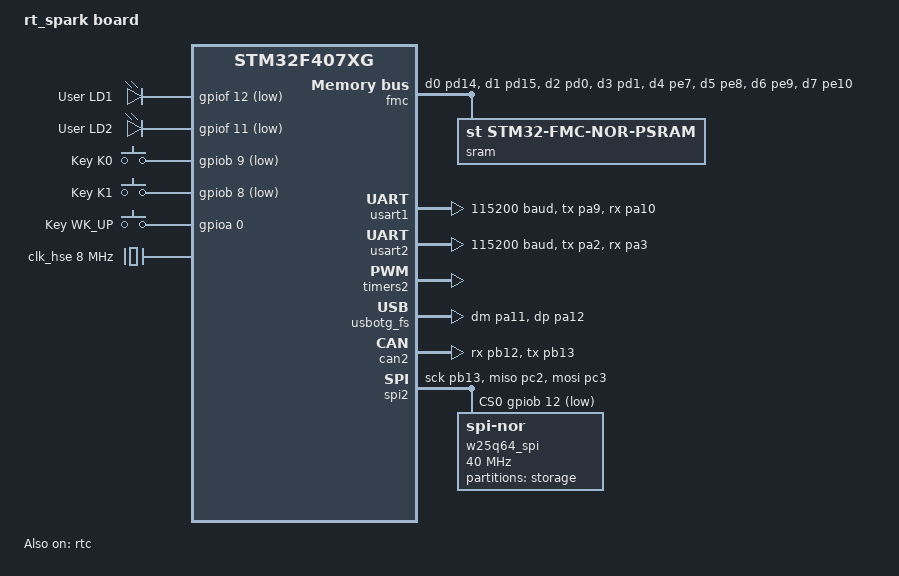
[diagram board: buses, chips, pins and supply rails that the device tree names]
/*
 * Copyright (c) 2020 Intel Corporation
 *
 * SPDX-License-Identifier: Apache-2.0
 */

/dts-v1/;
#include <st/f4/stm32f407Xg.dtsi>
#include <st/f4/stm32f407z(e-g)tx-pinctrl.dtsi>
#include <zephyr/dt-bindings/memory-controller/stm32-fmc-nor-psram.h>
#include <zephyr/dt-bindings/mipi_dbi/mipi_dbi.h>
#include <zephyr/dt-bindings/input/input-event-codes.h>

/ {
	model = "rt_spark board";
	compatible = "ruiside,rt-spark";

	soc {
		fmc: memory-controller@a0000000 {
			compatible = "st,stm32-fmc";
			reg = <0xa0000000 0x400>;
			clocks = <&rcc STM32_CLOCK(AHB3, 0U)>;
			// status = "disabled";

			// sdram: sdram {
				//     compatible = "st,stm32-fmc-sdram";
				//     #address-cells = <1>;
				//     #size-cells = <0>;
				//     status = "disabled";
			// };
			pinctrl-0 = <&fsmc_d0_pd14 &fsmc_d1_pd15 &fsmc_d2_pd0 &fsmc_d3_pd1 &fsmc_d4_pe7 &fsmc_d5_pe8
			&fsmc_d6_pe9 &fsmc_d7_pe10 &fsmc_a18_pd13
			&fsmc_noe_pd4 &fsmc_nwe_pd5 &fsmc_ne3_pg10>;
			pinctrl-names = "default";
			status = "okay";
			sram {
				compatible = "st,stm32-fmc-nor-psram";

				#address-cells = <1>;
				#size-cells = <0>;
				status = "okay";
				bank@0 {
					reg = <0x0>;
					st,control = <STM32_FMC_DATA_ADDRESS_MUX_DISABLE
					STM32_FMC_MEMORY_TYPE_SRAM
					STM32_FMC_NORSRAM_MEM_BUS_WIDTH_8
					STM32_FMC_BURST_ACCESS_MODE_DISABLE
					STM32_FMC_WAIT_SIGNAL_POLARITY_LOW
					STM32_FMC_WAIT_TIMING_BEFORE_WS
					STM32_FMC_WRITE_OPERATION_ENABLE
					STM32_FMC_WAIT_SIGNAL_DISABLE
					STM32_FMC_EXTENDED_MODE_DISABLE
					STM32_FMC_ASYNCHRONOUS_WAIT_DISABLE
					STM32_FMC_WRITE_BURST_DISABLE
					STM32_FMC_CONTINUOUS_CLOCK_SYNC_ONLY
					STM32_FMC_WRITE_FIFO_DISABLE
					STM32_FMC_PAGE_SIZE_NONE>;
					st,timing = <1 1 32 0 2 2 STM32_FMC_ACCESS_MODE_A>;
					status = "okay";
					fmc-mipi-dbi {
						compatible = "st,stm32-fmc-mipi-dbi";
						reset-gpios = <&gpiod 3 GPIO_ACTIVE_LOW>;
						power-gpios = <&gpiof 9 GPIO_ACTIVE_HIGH>;
						register-select-pin = <18>;
						#address-cells = <1>;
						#size-cells = <0>;
						status = "okay";
						st7789v: lcd-panel@0 {
							status = "okay";
							compatible = "sitronix,st7789v";
							reg = <0>;
							mipi-mode = "MIPI_DBI_MODE_8080_BUS_8_BIT";
							/* A write cycle should be 68ns */
							mipi-max-frequency = <14705882>;
							width = <240>;
							height = <240>;
							x-offset = <0>;
							y-offset = <0>;
							vcom = <0x1F>;
							gctrl = <0x35>;
							vdvs = <0x20>;
							mdac = <0x00>;
							gamma = <0x01>;
							colmod = <0x05>;
							lcm = <0x2c>;
							porch-param = [ 0c 0c 00 33 33  ];
							cmd2en-param = [ 5a 69 02 00  ];
							pwctrl1-param = [ a4 a1  ];
							pvgam-param = [ D0 08 11 08 0C 15 39 33 50 36 13 14 29 2D  ];
							nvgam-param = [ D0 08 10 08 06 06 39 44 51 0B 16 14 2F 31  ];
							ram-param = [ 00 F0  ];
							rgb-param = [ 40 02 14  ];
						};
					};
				};
			};
		};
	};
	chosen {
		zephyr,console = &usart1;
		zephyr,shell-uart = &usart1;
		zephyr,sram = &sram0;
		zephyr,flash = &flash0;
		zephyr,ccm = &ccm0;
		zephyr,display = &st7789v;
		// zephyr,canbus = &can2;
	};

	leds {
		compatible = "gpio-leds";

		red_led: led_1 {
			gpios = <&gpiof 12 GPIO_ACTIVE_LOW>;
			label = "User LD1";
		};

		blue_led: led_2 {
			gpios = <&gpiof 11 GPIO_ACTIVE_LOW>;
			label = "User LD2";
		};
	};

	gpio_keys {
		compatible = "gpio-keys";

		user_button_0: K0 {
			label = "Key K0";
			gpios = <&gpiob 9 GPIO_ACTIVE_LOW>;
			zephyr,code = <INPUT_KEY_0>;
		};

		user_button_1: K1 {
			label = "Key K1";
			gpios = <&gpiob 8 GPIO_ACTIVE_LOW>;
			zephyr,code = <INPUT_KEY_1>;
		};

		user_button_UP: K_UP {
			label = "Key WK_UP";
			gpios = <&gpioa 0 GPIO_ACTIVE_HIGH>;
			zephyr,code = <INPUT_KEY_UP>;
		};
	};

	aliases {
		led0 = &red_led;
		led1 = &blue_led;
		sw0 = &user_button_UP;
	};
};

&clk_lsi {
	status = "okay";
};

&clk_hse {
	clock-frequency = <DT_FREQ_M(8)>;
	status = "okay";
};

&pll {
	div-m = <8>;
	mul-n = <336>;
	div-p = <2>;
	div-q = <7>;
	clocks = <&clk_hse>;
	status = "okay";
};

&rcc {
	clocks = <&pll>;
	clock-frequency = <DT_FREQ_M(168)>;
	ahb-prescaler = <1>;
	apb1-prescaler = <4>;
	apb2-prescaler = <2>;
};


&usart1 {
	pinctrl-0 = <&usart1_tx_pa9 &usart1_rx_pa10>;
	pinctrl-names = "default";
	current-speed = <115200>;
	status = "okay";
};

&usart2 {
	pinctrl-0 = <&usart2_tx_pa2 &usart2_rx_pa3>;
	pinctrl-names = "default";
	current-speed = <115200>;
	status = "okay";
};

&timers2 {
	status = "okay";

	pwm2: pwm {
		status = "okay";
		pinctrl-0 = <&tim2_ch1_pa0>;
		pinctrl-names = "default";
	};
};

&rtc {
	clocks = <&rcc STM32_CLOCK_BUS_APB1 0x10000000>,
	         <&rcc STM32_SRC_LSI RTC_SEL(2)>;
	status = "okay";
};

zephyr_udc0: &usbotg_fs {
	pinctrl-0 = <&usb_otg_fs_dm_pa11 &usb_otg_fs_dp_pa12>;
	pinctrl-names = "default";
	status = "okay";
};

&can1 {
	pinctrl-0 = <&can1_rx_pd0 &can1_tx_pd1>;
	pinctrl-names = "default";
	status = "disabled";
};

&can2 {
	pinctrl-0 = <&can2_rx_pb12 &can2_tx_pb13>;
	pinctrl-names = "default";
	status = "okay";
};

&spi2 {
	pinctrl-0 = <&spi2_sck_pb13 &spi2_miso_pc2 &spi2_mosi_pc3>;
	cs-gpios = <&gpiob 12 GPIO_ACTIVE_LOW>;
	pinctrl-names = "default";
	status = "okay";

	w25q64_spi: spi-nor-flash@0 {
		compatible = "jedec,spi-nor";
		reg = <0>;
		spi-max-frequency = <40000000>;
		size = <DT_SIZE_M(64)>; /* 64 Mbits */
		status = "okay";
		jedec-id = [ef 40 17];
		has-dpd;
		t-enter-dpd = <3500>;
		t-exit-dpd = <3500>;
		partitions {
			compatible = "fixed-partitions";
			#address-cells = <1>;
			#size-cells = <1>;
			storage_partition: partition@0 {
				label = "storage";
				reg = <0x00000000 DT_SIZE_M(8)>;
			};
		};
	};
};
